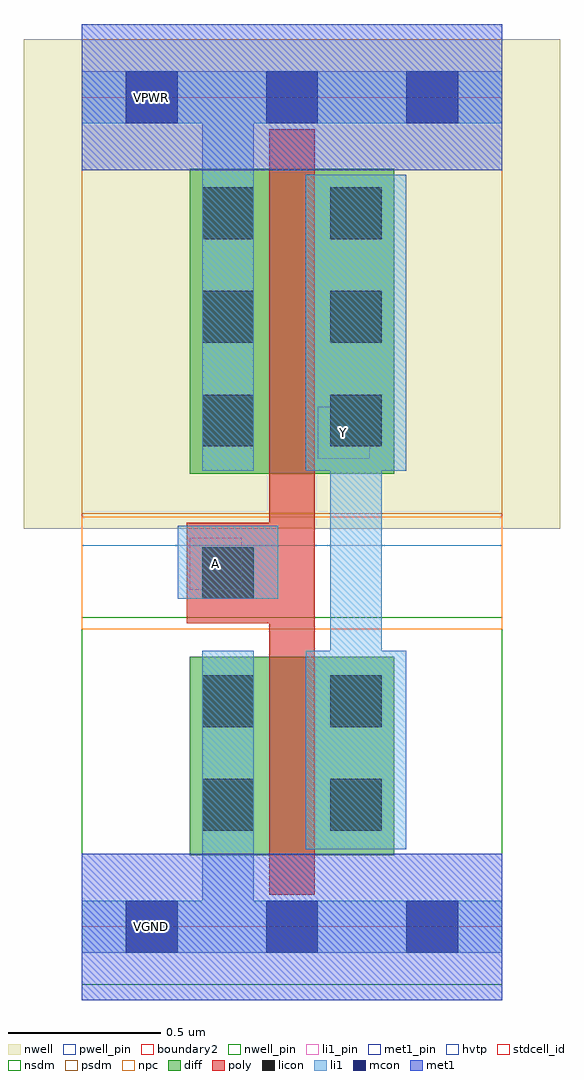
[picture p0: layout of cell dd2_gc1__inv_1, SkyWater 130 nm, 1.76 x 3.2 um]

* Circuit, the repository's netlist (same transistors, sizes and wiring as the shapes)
.subckt dd2_gc1__inv_1 A VGND VNB VPB VPWR Y
X0 Y A VGND VNB sky130_fd_pr__nfet_01v8 w=0.65 l=0.15
X1 Y A VPWR VPB sky130_fd_pr__pfet_01v8_hvt w=1 l=0.15
.ends

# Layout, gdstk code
import gdstk
lib = gdstk.Library(unit=1e-6, precision=1e-09)
def R(c, l, rs):  # rectangles x0, y0, x1, y1
    for r in rs: c.add(gdstk.rectangle(r[:2], r[2:], *l))
def A(c, l, x, y, w, h, nx, ny, dx, dy):  # array of equal rectangles
    R(c, l, [(x+i*dx, y+j*dy, x+i*dx+w, y+j*dy+h) for i in range(nx) for j in range(ny)])
nwell_pin = (64, 16)
nwell = (64, 20)
diff = (65, 20)
poly = (66, 20)
licon = (66, 44)
li1_pin = (67, 16)
li1 = (67, 20)
mcon = (67, 44)
met1_pin = (68, 16)
met1 = (68, 20)
hvtp = (78, 44)
stdcell_id = (81, 4)
nsdm = (93, 44)
psdm = (94, 20)
npc = (95, 20)
pwell_pin = (122, 16)
boundary2 = (236, 0)

dd2_gc1__inv_1 = lib.new_cell('dd2_gc1__inv_1')
R(dd2_gc1__inv_1, nwell_pin, [(0.145,2.635,0.315,2.805)])
R(dd2_gc1__inv_1, nwell, [(-0.19,1.305,1.57,2.91)])
R(dd2_gc1__inv_1, diff, [(0.355,0.235,1.025,0.885), (0.355,1.485,1.025,2.485)])
R(dd2_gc1__inv_1, poly, [(0.615,0.105,0.765,2.615), (0.345,0.995,0.765,1.325)])
A(dd2_gc1__inv_1, licon, 0.395, 1.575, 0.17, 0.17, 1, 3, 0, 0.34)
A(dd2_gc1__inv_1, licon, 0.815, 1.575, 0.17, 0.17, 1, 3, 0, 0.34)
R(dd2_gc1__inv_1, licon, [(0.395,0.315,0.565,0.485), (0.815,0.315,0.985,0.485), (0.395,0.655,0.565,0.825), (0.815,0.655,0.985,0.825), (0.395,1.075,0.565,1.245)])
R(dd2_gc1__inv_1, li1_pin, [(0.355,1.105,0.525,1.275), (0.775,1.535,0.945,1.705)])
R(dd2_gc1__inv_1, li1, [(0,-0.085,1.38,0.085), (0.395,-0.085,0.565,0.905), (0.735,0.255,1.065,0.905), (0.815,0.895,0.985,1.505), (0.315,1.075,0.645,1.315), (0.395,1.495,0.565,2.805), (0.735,1.495,1.065,2.465), (0,2.635,1.38,2.805)])
A(dd2_gc1__inv_1, mcon, 0.145, -0.085, 0.17, 0.17, 3, 2, 0.46, 2.72)
R(dd2_gc1__inv_1, met1_pin, [(0.145,-0.085,0.315,0.085), (0.145,2.635,0.315,2.805)])
R(dd2_gc1__inv_1, met1, [(0,-0.24,1.38,0.24), (0,2.48,1.38,2.96)])
R(dd2_gc1__inv_1, hvtp, [(0,1.25,1.38,2.72)])
R(dd2_gc1__inv_1, stdcell_id, [(0,0,1.38,2.72)])
R(dd2_gc1__inv_1, nsdm, [(0,-0.19,1.38,1.015)])
R(dd2_gc1__inv_1, psdm, [(0,1.355,1.38,2.91)])
R(dd2_gc1__inv_1, npc, [(0,0.975,1.38,1.345)])
R(dd2_gc1__inv_1, pwell_pin, [(0.145,-0.085,0.315,0.085)])
R(dd2_gc1__inv_1, boundary2, [(0,0,1.38,2.72)])
dd2_gc1__inv_1.add(gdstk.Label('A', (0.44,1.19), layer=67, texttype=5))
dd2_gc1__inv_1.add(gdstk.Label('Y', (0.86,1.62), layer=67, texttype=5))
dd2_gc1__inv_1.add(gdstk.Label('VGND', (0.23,0), layer=68, texttype=5))
dd2_gc1__inv_1.add(gdstk.Label('VPWR', (0.23,2.72), layer=68, texttype=5))
dd2_gc1__inv_1.add(gdstk.Label('VPB', (0.23,2.72), layer=64, texttype=5))
dd2_gc1__inv_1.add(gdstk.Label('VNB', (0.23,0), layer=64, texttype=59))

lib.write_gds('dd2_gc1__inv_1.gds')
